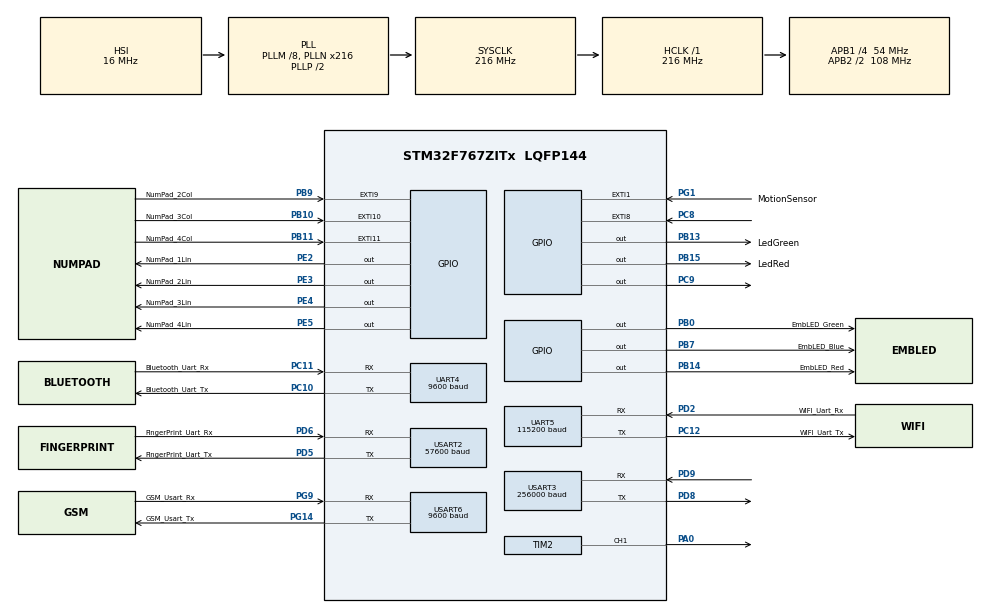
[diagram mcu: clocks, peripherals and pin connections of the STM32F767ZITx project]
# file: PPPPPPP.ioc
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CORTEX_M7.ART_ACCLERATOR_ENABLE=1
CORTEX_M7.CPU_ICache=Enabled
CORTEX_M7.PREFETCH_ENABLE=1
FREERTOS.Tasks01=defaultTask,0,1024,StartDefaultTask,Default,NULL,Dynamic,NULL,NULL;updateTimeTask,-3,1024,StartTaskUpdateTime,Default,NULL,Dynamic,NULL,NULL;publishTask,-3,1024,StartTaskpublish,Default,NULL,Dynamic,NULL,NULL;parsingBTTask,-3,128,StarPparsingBT,Default,NULL,Dynamic,NULL,NULL
FREERTOS.configTOTAL_HEAP_SIZE=50360
Mcu.Family=STM32F7
Mcu.Name=STM32F767ZITx
Mcu.Package=LQFP144
NVIC.EXTI15_10_IRQn=true\:5\:0\:false\:false\:true\:true\:true\:true
NVIC.EXTI9_5_IRQn=true\:5\:0\:false\:false\:true\:true\:true\:true
NVIC.PriorityGroup=NVIC_PRIORITYGROUP_4
NVIC.TIM2_IRQn=true\:5\:0\:false\:false\:true\:true\:true\:true
NVIC.UART4_IRQn=true\:5\:0\:false\:false\:true\:true\:true\:true
NVIC.UART5_IRQn=true\:5\:0\:false\:false\:true\:true\:true\:true
NVIC.USART2_IRQn=true\:5\:0\:false\:false\:true\:true\:true\:true
NVIC.USART3_IRQn=true\:5\:0\:false\:false\:true\:true\:true\:true
NVIC.USART6_IRQn=true\:5\:0\:false\:false\:true\:true\:true\:true
PA0/WKUP.Signal=S_TIM2_CH1_ETR
PA13.Mode=Serial_Wire
PA13.Signal=SYS_JTMS-SWDIO
PA14.Mode=Serial_Wire
PA14.Signal=SYS_JTCK-SWCLK
PB0.GPIO_Label=EmbLED_Green
PB0.Signal=GPIO_Output
PB10.GPIO_Label=NumPad_3Col
PB10.GPIO_PuPd=GPIO_PULLDOWN
PB10.Signal=GPXTI10
PB11.GPIO_Label=NumPad_4Col
PB11.GPIO_PuPd=GPIO_PULLDOWN
PB11.Signal=GPXTI11
PB13.GPIO_Label=LedGreen
PB13.Signal=GPIO_Output
PB14.GPIO_Label=EmbLED_Red
PB14.Signal=GPIO_Output
PB15.GPIO_Label=LedRed
PB15.Signal=GPIO_Output
PB7.GPIO_Label=EmbLED_Blue
PB7.Signal=GPIO_Output
PB9.GPIO_Label=NumPad_2Col
PB9.GPIO_PuPd=GPIO_PULLDOWN
PB9.Signal=GPXTI9
PC10.GPIO_Label=Bluetooth_Uart_Tx
PC10.Mode=Asynchronous
PC10.Signal=UART4_TX
PC11.GPIO_Label=Bluetooth_Uart_Rx
PC11.Mode=Asynchronous
PC11.Signal=UART4_RX
PC12.GPIO_Label=WIFI_Uart_Tx
PC12.Mode=Asynchronous
PC12.Signal=UART5_TX
PC8.Signal=GPXTI8
PC9.Signal=GPIO_Output
PD2.GPIO_Label=WIFI_Uart_Rx
PD2.Mode=Asynchronous
PD2.Signal=UART5_RX
PD5.GPIO_Label=FingerPrint_Uart_Tx
PD5.Mode=Asynchronous
PD5.Signal=USART2_TX
PD6.GPIO_Label=FingerPrint_Uart_Rx
PD6.Mode=Asynchronous
PD6.Signal=USART2_RX
PD8.Mode=Asynchronous
PD8.Signal=USART3_TX
PD9.Mode=Asynchronous
PD9.Signal=USART3_RX
PE2.GPIO_Label=NumPad_1Lin
PE2.GPIO_PuPd=GPIO_PULLDOWN
PE2.Signal=GPIO_Output
PE3.GPIO_Label=NumPad_2Lin
PE3.GPIO_PuPd=GPIO_PULLDOWN
PE3.Signal=GPIO_Output
PE4.GPIO_Label=NumPad_3Lin
PE4.GPIO_PuPd=GPIO_PULLDOWN
PE4.Signal=GPIO_Output
PE5.GPIO_Label=NumPad_4Lin
PE5.GPIO_PuPd=GPIO_PULLDOWN
PE5.Signal=GPIO_Output
PG1.GPIO_Label=MotionSensor
PG1.Signal=GPXTI1
PG14.GPIO_Label=GSM_Usart_Tx
PG14.Mode=Asynchronous
PG14.Signal=USART6_TX
PG9.GPIO_Label=GSM_Usart_Rx
PG9.Mode=Asynchronous
PG9.Signal=USART6_RX
PH0/OSC_IN.Mode=HSE-External-Oscillator
PH0/OSC_IN.Signal=RCC_OSC_IN
PH1/OSC_OUT.Mode=HSE-External-Oscillator
PH1/OSC_OUT.Signal=RCC_OSC_OUT
ProjectManager.HeapSize=0x200
ProjectManager.StackSize=0x400
ProjectManager.TargetToolchain=MDK-ARM V5
RCC.48MHZClocksFreq_Value=24000000
RCC.AHBFreq_Value=216000000
RCC.APB1CLKDivider=RCC_HCLK_DIV4
RCC.APB1Freq_Value=54000000
RCC.APB1TimFreq_Value=108000000
RCC.APB2CLKDivider=RCC_HCLK_DIV2
RCC.APB2Freq_Value=108000000
RCC.APB2TimFreq_Value=216000000
RCC.CortexFreq_Value=216000000
RCC.HCLKFreq_Value=216000000
RCC.HSE_VALUE=16000000
RCC.HSI_VALUE=16000000
RCC.LSE_VALUE=32768
RCC.PLLM=8
RCC.PLLMUL=RCC_PLL_MUL9
RCC.PLLN=216
RCC.PLLQ=4
RCC.PRESCALERUSB=RCC_USBCLKSOURCE_PLL_DIV1_5
RCC.SYSCLKFreq_VALUE=216000000
RCC.SYSCLKSource=RCC_SYSCLKSOURCE_PLLCLK
RCC.SYSCLKSourceVirtual=RCC_SYSCLKSOURCE_PLLCLK
RCC.USBFreq_Value=108000000
RCC.VCOOutputFreq_Value=432000000
SH.S_TIM2_CH1_ETR.0=TIM2_CH1,Output Compare1 CH1
TIM2.Channel-Output\ Compare1\ CH1=TIM_CHANNEL_1
TIM2.Period=64799
TIM2.Prescaler=49999
UART4.BaudRate=9600
UART5.BaudRate=115200
USART2.BaudRate=57600
USART2.VirtualMode-Asynchronous=VM_ASYNC
USART3.BaudRate=256000
USART3.VirtualMode-Asynchronous=VM_ASYNC
USART6.BaudRate=9600
USART6.VirtualMode-Asynchronous=VM_ASYNC
VP_FREERTOS_VS_CMSIS_V1.Mode=CMSIS_V1
board=NUCLEO-F767ZI

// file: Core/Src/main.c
/* USER CODE BEGIN Header */
/**
  ******************************************************************************
  * @file           : main.c
  * @brief          : Main program body
  ******************************************************************************
  * @attention
  *
  * <h2><center>&copy; Copyright (c) 2019 STMicroelectronics.
  * All rights reserved.</center></h2>
  *
  * This software component is licensed by ST under BSD 3-Clause license,
  * the "License"; You may not use this file except in compliance with the
  * License. You may obtain a copy of the License at:
  *                        opensource.org/licenses/BSD-3-Clause
  *
  ******************************************************************************
  */
/* USER CODE END Header */

#include "main.h"
#include "cmsis_os.h"
#include "tim.h"
#include "usart.h"
#include "gpio.h"

/* USER CODE BEGIN Includes */

#include <stdio.h>
#include <string.h>
#include <stdlib.h>
#include "FingerPrint.h"
#include "FingerPrintConfig.h"
#include "user.h"
#include "init.h"

/* USER CODE END Includes */

void SystemClock_Config(void);

int main(void)
{

  /* Enable I-Cache---------------------------------------------------------*/
  SCB_EnableICache();

  /* MCU Configuration--------------------------------------------------------*/

  /* Reset of all peripherals, Initializes the Flash interface and the Systick. */
  HAL_Init();

  /* Configure the system clock */
  SystemClock_Config();

  /* Initialize all configured peripherals */
  MX_GPIO_Init();
  MX_USART3_UART_Init();
  MX_UART4_Init();
  MX_UART5_Init();
  MX_USART6_UART_Init();
  MX_USART2_UART_Init();
  MX_TIM2_Init();
  /* USER CODE BEGIN 2 */
	HAL_TIM_Base_Start_IT(&htim2);
	init_UARTs();
	//HAL_UART_Transmit_IT(&huart3, (uint8_t *)sizeof(char), 1);

	//user pp;
	int c = 0;
	HAL_Delay(50);
	initUser();
	vSemaphoreCreateBinary(release_signal);
	vSemaphoreCreateBinary(sim1);
	vSemaphoreCreateBinary(release_signal);
	vSemaphoreCreateBinary(numPad);

  /* USER CODE END 2 */

  /* Call init function for freertos objects (in freertos.c) */
  MX_FREERTOS_Init();
	FingerPrint_Init(osPriorityLow);
  /* Start scheduler */
  osKernelStart();

  /* We should never get here as control is now taken by the scheduler */

  /* Infinite loop */
  /* USER CODE BEGIN WHILE */
  while (1)
  {
		//if(!pp.parsingBT(&pp, &c))
		if(parsingBT(&c))
		{

			line_output 	|=   NumPad_1Lin_Pin;
			HAL_Delay(0);
			line_output		&=  ~NumPad_1Lin_Pin;

			line_output 	|=   NumPad_2Lin_Pin;
			HAL_Delay(0);
			line_output 	&=  ~NumPad_2Lin_Pin;

			line_output 	|=   NumPad_3Lin_Pin;
			HAL_Delay(0);
			line_output 	&=  ~NumPad_3Lin_Pin;

			line_output 	|=   NumPad_4Lin_Pin;
			HAL_Delay(0);
			line_output 	&=  ~NumPad_4Lin_Pin;

		}
		HAL_Delay(1);

    /* USER CODE END WHILE */

  }
}

void SystemClock_Config(void)
{
  RCC_OscInitTypeDef RCC_OscInitStruct = {0};
  RCC_ClkInitTypeDef RCC_ClkInitStruct = {0};
  RCC_PeriphCLKInitTypeDef PeriphClkInitStruct = {0};

  /** Configure the main internal regulator output voltage
  */
  __HAL_RCC_PWR_CLK_ENABLE();
  __HAL_PWR_VOLTAGESCALING_CONFIG(PWR_REGULATOR_VOLTAGE_SCALE1);
  /** Initializes the CPU, AHB and APB busses clocks
  */
  RCC_OscInitStruct.OscillatorType = RCC_OSCILLATORTYPE_HSI;
  RCC_OscInitStruct.HSIState = RCC_HSI_ON;
  RCC_OscInitStruct.HSICalibrationValue = RCC_HSICALIBRATION_DEFAULT;
  RCC_OscInitStruct.PLL.PLLState = RCC_PLL_ON;
  RCC_OscInitStruct.PLL.PLLSource = RCC_PLLSOURCE_HSI;
  RCC_OscInitStruct.PLL.PLLM = 8;
  RCC_OscInitStruct.PLL.PLLN = 216;
  RCC_OscInitStruct.PLL.PLLP = RCC_PLLP_DIV2;
  RCC_OscInitStruct.PLL.PLLQ = 4;
  if (HAL_RCC_OscConfig(&RCC_OscInitStruct) != HAL_OK)
  {
    Error_Handler();
  }
  /** Activate the Over-Drive mode
  */
  if (HAL_PWREx_EnableOverDrive() != HAL_OK)
  {
    Error_Handler();
  }
  /** Initializes the CPU, AHB and APB busses clocks
  */
  RCC_ClkInitStruct.ClockType = RCC_CLOCKTYPE_HCLK|RCC_CLOCKTYPE_SYSCLK
                              |RCC_CLOCKTYPE_PCLK1|RCC_CLOCKTYPE_PCLK2;
  RCC_ClkInitStruct.SYSCLKSource = RCC_SYSCLKSOURCE_PLLCLK;
  RCC_ClkInitStruct.AHBCLKDivider = RCC_SYSCLK_DIV1;
  RCC_ClkInitStruct.APB1CLKDivider = RCC_HCLK_DIV4;
  RCC_ClkInitStruct.APB2CLKDivider = RCC_HCLK_DIV2;

  if (HAL_RCC_ClockConfig(&RCC_ClkInitStruct, FLASH_LATENCY_7) != HAL_OK)
  {
    Error_Handler();
  }
  PeriphClkInitStruct.PeriphClockSelection = RCC_PERIPHCLK_USART2|RCC_PERIPHCLK_USART3
                              |RCC_PERIPHCLK_USART6|RCC_PERIPHCLK_UART4
                              |RCC_PERIPHCLK_UART5;
  PeriphClkInitStruct.Usart2ClockSelection = RCC_USART2CLKSOURCE_PCLK1;
  PeriphClkInitStruct.Usart3ClockSelection = RCC_USART3CLKSOURCE_PCLK1;
  PeriphClkInitStruct.Uart4ClockSelection = RCC_UART4CLKSOURCE_PCLK1;
  PeriphClkInitStruct.Uart5ClockSelection = RCC_UART5CLKSOURCE_PCLK1;
  PeriphClkInitStruct.Usart6ClockSelection = RCC_USART6CLKSOURCE_PCLK2;
  if (HAL_RCCEx_PeriphCLKConfig(&PeriphClkInitStruct) != HAL_OK)
  {
    Error_Handler();
  }
}

void Error_Handler(void)
{
}

/************************ (C) COPYRIGHT STMicroelectronics *****END OF FILE****/

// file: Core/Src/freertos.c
/* USER CODE BEGIN Header */
/**
  ******************************************************************************
  * File Name          : freertos.c
  * Description        : Code for freertos applications
  ******************************************************************************
  * @attention
  *
  * <h2><center>&copy; Copyright (c) 2019 STMicroelectronics.
  * All rights reserved.</center></h2>
  *
  * This software component is licensed by ST under Ultimate Liberty license
  * SLA0044, the "License"; You may not use this file except in compliance with
  * the License. You may obtain a copy of the License at:
  *                             www.st.com/SLA0044
  *
  ******************************************************************************
  */
/* USER CODE END Header */

#include "FreeRTOS.h"
#include "task.h"
#include "main.h"
#include "cmsis_os.h"

/* USER CODE BEGIN Includes */
#include "esp8266.h"
#include "usart.h"
#include "init.h"
#include "user.h"
#include <stdio.h>
#include "gsm.h"
#include <string.h>

/* USER CODE END Includes */

osThreadId defaultTaskHandle;
osThreadId updateTimeTaskHandle;
osThreadId publishTaskHandle;
osThreadId parsingBTTaskHandle;
osThreadId parsingGSMTaskHandle;
osThreadId numPadTaskHandle;

/* USER CODE BEGIN FunctionPrototypes */
void StartmyTask(void const * argument);
void StartsimTask(void const * argument);
//void StartreleaseTask(void const * argument);

/* USER CODE END FunctionPrototypes */

void StartDefaultTask(void const * argument);
void StartTaskUpdateTime(void const * argument);
void StartTaskpublish(void const * argument);
void StarPparsingBT(void const * argument);
void StarPparsingGSM(void const * argument);
void StartNumpad(void const * argument);

void MX_FREERTOS_Init(void); /* (MISRA C 2004 rule 8.1) */

void MX_FREERTOS_Init(void) {

  /* Create the thread(s) */
  /* definition and creation of defaultTask */
  osThreadDef(defaultTask, StartDefaultTask, osPriorityAboveNormal, 0, 512);
  defaultTaskHandle = osThreadCreate(osThread(defaultTask), NULL);

  /* definition and creation of updateTimeTask */
  osThreadDef(updateTimeTask, StartTaskUpdateTime, osPriorityNormal, 0, 256);
  updateTimeTaskHandle = osThreadCreate(osThread(updateTimeTask), NULL);

  /* definition and creation of publishTask */
  osThreadDef(publishTask, StartTaskpublish, osPriorityNormal, 0, 256);
  publishTaskHandle = osThreadCreate(osThread(publishTask), NULL);

  /* definition and creation of parsingBTTask */
  osThreadDef(parsingBTTask, StarPparsingBT, osPriorityNormal, 0, 1024);
  parsingBTTaskHandle = osThreadCreate(osThread(parsingBTTask), NULL);

  /* USER CODE BEGIN RTOS_THREADS */
	osThreadDef(parsingGSMTask, StarPparsingGSM, osPriorityNormal, 0, 512);
  parsingGSMTaskHandle = osThreadCreate(osThread(parsingGSMTask), NULL);

		osThreadDef(numPadTask, StartNumpad, osPriorityNormal, 0, 512);
  numPadTaskHandle = osThreadCreate(osThread(numPadTask), NULL);
  /* add threads, ... */
  /* USER CODE END RTOS_THREADS */

}

void StartDefaultTask(void const * argument)
{

  /* USER CODE BEGIN StartDefaultTask */
  /* Infinite loop */
  for(;;)
  {
    parsing_esp();
		vTaskDelay(100);
		}
  /* USER CODE END StartDefaultTask */
}

void StartTaskUpdateTime(void const *argument)
{
    /*USER CODE BEGIN StartTaskUpdateTime */
    if (xSemaphoreTake(sim1, 99999))
    {
    }

    /*Infinite loop */
    for (;;)
    {
        if (xSemaphoreTake(sim1, 99999))
        {
            stmtime.updated = 1;
            while (stmtime.need_update)
            {
                vTaskDelay(10);
            }
            wait1();
            HAL_GPIO_TogglePin(GPIOB, EmbLED_Blue_Pin);
            while (stmtime.updated)
                vTaskDelay(100);
            verify_release_time1();
            stmtime.need_update = 0;
        }

        vTaskDelay(1000);
    }

    /*USER CODE END StartTaskUpdateTime */
}

void StartTaskpublish(void const *argument)
{
    /*USER CODE BEGIN StartTaskpublish */

    if (xSemaphoreTake(release_signal, 99999))
    {
        ini();
        HAL_UART_Transmit(&huart5, "AT+CIPCLOSE\r\n", 13, 1000);
        HAL_UART_Transmit(&huart6, "AT+CMEE=2\r\n", 11, 1000);
        vTaskDelay(100);
        wait1();
    }

    /*Infinite loop */
    for (;;)
    {
        if (xSemaphoreTake(release_signal, 99999))
        {
            while (stmtime.need_update)
            {
                HAL_UART_Transmit(&huart3, "s", 1, 100);
                vTaskDelay(100);
            }

            for (int pos = 0; pos < MAX_USERS; pos++)
            {
                if (to_release[pos].to_publish && to_release[pos].where == 0)
                {
                    publish_twitter(to_release[pos].message, to_release[pos].cardentials_twitter);
                }
                else if (to_release[pos].to_publish && to_release[pos].where == 1)
                    send_SMS(to_release[pos].phone_number, to_release[pos].message, strlen(to_release[pos].message));
                to_release[pos].to_publish = 0;
            }

            finish_twitter();
        }

        vTaskDelay(1000);
    }

    /*USER CODE END StartTaskpublish */
}

void StarPparsingBT(void const * argument)
{
  /* USER CODE BEGIN StarPparsingBT */
	initUser();
  /* Infinite loop */
  for(;;)
  {
		parsingBT(&cp);
		vTaskDelay(100);
  }
  /* USER CODE END StarPparsingBT */
}

/* USER CODE BEGIN Application */
     void StarPparsingGSM(void const * argument)
{
  /* USER CODE BEGIN StarPparsingBT */

  /* Infinite loop */
  for(;;)
  {
		parsing_gsm();
		vTaskDelay(100);
  }
  /* USER CODE END StarPparsingBT */
}

   void StartNumpad(void const * argument)
{
  /* USER CODE BEGIN StarPparsingBT */
	//    if (xSemaphoreTake(numPad, 99999));
	if (xSemaphoreTake(numPad, 99999));
  /* Infinite loop */
  for(;;)
  {

		code_number = 0;
		if (xSemaphoreTake(numPad, 99999))
		{
			while ( code_number < 4 )
			{
				line_output 	|=   NumPad_1Lin_Pin;
				vTaskDelay(70);
				line_output		&=  ~NumPad_1Lin_Pin;
				vTaskDelay(100);

				line_output 	|=   NumPad_2Lin_Pin;
				vTaskDelay(70);
				line_output 	&=  ~NumPad_2Lin_Pin;
				vTaskDelay(100);

				line_output 	|=   NumPad_3Lin_Pin;
				vTaskDelay(70);
				line_output 	&=  ~NumPad_3Lin_Pin;
				vTaskDelay(100);

				line_output 	|=   NumPad_4Lin_Pin;
				vTaskDelay(70);
				line_output 	&=  ~NumPad_4Lin_Pin;
				vTaskDelay(100);
			}
			pin_code[4] = 0;
		  choose_pin[4] = 0;
			if (!strcmp(pin_code, choose_pin))
				HAL_UART_Transmit(&huart4, "<Q1>",4, 1000);
			else
				HAL_UART_Transmit(&huart4, "<Q5>",4, 1000);
		}
		vTaskDelay(100);

  }
}
/* USER CODE END Application */

/************************ (C) COPYRIGHT STMicroelectronics *****END OF FILE****/
